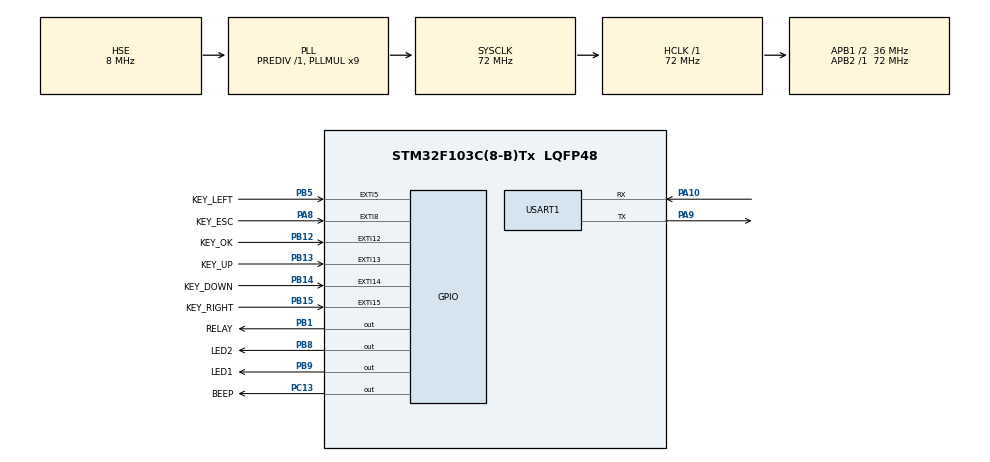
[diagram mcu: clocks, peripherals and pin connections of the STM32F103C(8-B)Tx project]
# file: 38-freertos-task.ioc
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FREERTOS.Tasks01=defaultTask,0,128,StartDefaultTask,Default,NULL,Dynamic,NULL,NULL;LED1,0,128,TaskLED1,Default,NULL,Dynamic,NULL,NULL;LED2,0,128,TaskLED2,Default,NULL,Dynamic,NULL,NULL
Mcu.Family=STM32F1
Mcu.Name=STM32F103C(8-B)Tx
Mcu.Package=LQFP48
NVIC.EXTI15_10_IRQn=true\:5\:0\:true\:false\:true\:true\:true\:true\:true
NVIC.EXTI9_5_IRQn=true\:5\:0\:true\:false\:true\:true\:true\:true\:true
NVIC.PriorityGroup=NVIC_PRIORITYGROUP_4
NVIC.TIM1_UP_IRQn=true\:15\:0\:false\:false\:true\:false\:false\:true\:true
NVIC.TimeBase=TIM1_UP_IRQn
NVIC.TimeBaseIP=TIM1
PA10.Mode=Asynchronous
PA10.Signal=USART1_RX
PA13.Mode=Serial_Wire
PA13.Signal=SYS_JTMS-SWDIO
PA14.Mode=Serial_Wire
PA14.Signal=SYS_JTCK-SWCLK
PA8.GPIO_Label=KEY_ESC
PA8.GPIO_ModeDefaultEXTI=GPIO_MODE_IT_FALLING
PA8.GPIO_PuPd=GPIO_PULLUP
PA8.Signal=GPXTI8
PA9.Mode=Asynchronous
PA9.Signal=USART1_TX
PB1.GPIO_Label=RELAY
PB1.Signal=GPIO_Output
PB12.GPIO_Label=KEY_OK
PB12.GPIO_ModeDefaultEXTI=GPIO_MODE_IT_FALLING
PB12.GPIO_PuPd=GPIO_PULLUP
PB12.Signal=GPXTI12
PB13.GPIO_Label=KEY_UP
PB13.GPIO_ModeDefaultEXTI=GPIO_MODE_IT_FALLING
PB13.GPIO_PuPd=GPIO_PULLUP
PB13.Signal=GPXTI13
PB14.GPIO_Label=KEY_DOWN
PB14.GPIO_ModeDefaultEXTI=GPIO_MODE_IT_FALLING
PB14.GPIO_PuPd=GPIO_PULLUP
PB14.Signal=GPXTI14
PB15.GPIO_Label=KEY_RIGHT
PB15.GPIO_ModeDefaultEXTI=GPIO_MODE_IT_FALLING
PB15.GPIO_PuPd=GPIO_PULLUP
PB15.Signal=GPXTI15
PB5.GPIO_Label=KEY_LEFT
PB5.GPIO_ModeDefaultEXTI=GPIO_MODE_IT_FALLING
PB5.GPIO_PuPd=GPIO_PULLUP
PB5.Signal=GPXTI5
PB8.GPIO_Label=LED2
PB8.PinState=GPIO_PIN_SET
PB8.Signal=GPIO_Output
PB9.GPIO_Label=LED1
PB9.PinState=GPIO_PIN_SET
PB9.Signal=GPIO_Output
PC13-TAMPER-RTC.GPIO_Label=BEEP
PC13-TAMPER-RTC.Signal=GPIO_Output
PD0-OSC_IN.Mode=HSE-External-Oscillator
PD0-OSC_IN.Signal=RCC_OSC_IN
PD1-OSC_OUT.Mode=HSE-External-Oscillator
PD1-OSC_OUT.Signal=RCC_OSC_OUT
ProjectManager.HeapSize=0x200
ProjectManager.StackSize=0x400
ProjectManager.TargetToolchain=MDK-ARM V5.32
RCC.AHBFreq_Value=72000000
RCC.APB1CLKDivider=RCC_HCLK_DIV2
RCC.APB1Freq_Value=36000000
RCC.APB1TimFreq_Value=72000000
RCC.APB2Freq_Value=72000000
RCC.APB2TimFreq_Value=72000000
RCC.HCLKFreq_Value=72000000
RCC.PLLMUL=RCC_PLL_MUL9
RCC.PLLSourceVirtual=RCC_PLLSOURCE_HSE
RCC.SYSCLKFreq_VALUE=72000000
RCC.SYSCLKSource=RCC_SYSCLKSOURCE_PLLCLK
RCC.USBFreq_Value=72000000
USART1.VirtualMode=VM_ASYNC
VP_FREERTOS_VS_CMSIS_V1.Mode=CMSIS_V1
VP_SYS_VS_tim1.Mode=TIM1
board=custom

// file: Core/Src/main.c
/* USER CODE BEGIN Header */
/**
  ******************************************************************************
  * @file           : main.c
  * @brief          : Main program body
  ******************************************************************************
  * @attention
  *
  * Copyright (c) 2025 STMicroelectronics.
  * All rights reserved.
  *
  * This software is licensed under terms that can be found in the LICENSE file
  * in the root directory of this software component.
  * If no LICENSE file comes with this software, it is provided AS-IS.
  *
  ******************************************************************************
  */
/* USER CODE END Header */
#include "main.h"
#include "cmsis_os.h"
#include "usart.h"
#include "gpio.h"

/* USER CODE BEGIN Includes */
#include <stdio.h>
/* USER CODE END Includes */

void SystemClock_Config(void);
void MX_FREERTOS_Init(void);

int main(void)
{

  /* MCU Configuration--------------------------------------------------------*/

  /* Reset of all peripherals, Initializes the Flash interface and the Systick. */
  HAL_Init();

  /* Configure the system clock */
  SystemClock_Config();

  /* Initialize all configured peripherals */
  MX_GPIO_Init();
  MX_USART1_UART_Init();
  /* USER CODE BEGIN 2 */
	printf("Uart1 init is ok\n");
  /* USER CODE END 2 */

  /* Call init function for freertos objects (in cmsis_os2.c) */
  MX_FREERTOS_Init();

  /* Start scheduler */
  osKernelStart();

  /* We should never get here as control is now taken by the scheduler */

  /* Infinite loop */
  while (1)
  {

  }
}

void SystemClock_Config(void)
{
  RCC_OscInitTypeDef RCC_OscInitStruct = {0};
  RCC_ClkInitTypeDef RCC_ClkInitStruct = {0};

  /** Initializes the RCC Oscillators according to the specified parameters
  * in the RCC_OscInitTypeDef structure.
  */
  RCC_OscInitStruct.OscillatorType = RCC_OSCILLATORTYPE_HSE;
  RCC_OscInitStruct.HSEState = RCC_HSE_ON;
  RCC_OscInitStruct.HSEPredivValue = RCC_HSE_PREDIV_DIV1;
  RCC_OscInitStruct.HSIState = RCC_HSI_ON;
  RCC_OscInitStruct.PLL.PLLState = RCC_PLL_ON;
  RCC_OscInitStruct.PLL.PLLSource = RCC_PLLSOURCE_HSE;
  RCC_OscInitStruct.PLL.PLLMUL = RCC_PLL_MUL9;
  if (HAL_RCC_OscConfig(&RCC_OscInitStruct) != HAL_OK)
  {
    Error_Handler();
  }

  /** Initializes the CPU, AHB and APB buses clocks
  */
  RCC_ClkInitStruct.ClockType = RCC_CLOCKTYPE_HCLK|RCC_CLOCKTYPE_SYSCLK
                              |RCC_CLOCKTYPE_PCLK1|RCC_CLOCKTYPE_PCLK2;
  RCC_ClkInitStruct.SYSCLKSource = RCC_SYSCLKSOURCE_PLLCLK;
  RCC_ClkInitStruct.AHBCLKDivider = RCC_SYSCLK_DIV1;
  RCC_ClkInitStruct.APB1CLKDivider = RCC_HCLK_DIV2;
  RCC_ClkInitStruct.APB2CLKDivider = RCC_HCLK_DIV1;

  if (HAL_RCC_ClockConfig(&RCC_ClkInitStruct, FLASH_LATENCY_2) != HAL_OK)
  {
    Error_Handler();
  }
}

void HAL_TIM_PeriodElapsedCallback(TIM_HandleTypeDef *htim)
{
  if (htim->Instance == TIM1)
  {
    HAL_IncTick();
  }
}

void Error_Handler(void)
{
  __disable_irq();
  while (1)
  {
  }
}

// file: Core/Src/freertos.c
/* USER CODE BEGIN Header */
/**
  ******************************************************************************
  * File Name          : freertos.c
  * Description        : Code for freertos applications
  ******************************************************************************
  * @attention
  *
  * Copyright (c) 2025 STMicroelectronics.
  * All rights reserved.
  *
  * This software is licensed under terms that can be found in the LICENSE file
  * in the root directory of this software component.
  * If no LICENSE file comes with this software, it is provided AS-IS.
  *
  ******************************************************************************
  */
/* USER CODE END Header */

#include "FreeRTOS.h"
#include "task.h"
#include "main.h"
#include "cmsis_os.h"

/* USER CODE BEGIN Includes */
#include "gpio.h"
#include <stdio.h>
/* USER CODE END Includes */

osThreadId defaultTaskHandle;
osThreadId LED1Handle;
osThreadId LED2Handle;

void StartDefaultTask(void const * argument);
void TaskLED1(void const * argument);
void TaskLED2(void const * argument);

void MX_FREERTOS_Init(void); /* (MISRA C 2004 rule 8.1) */

/* GetIdleTaskMemory prototype (linked to static allocation support) */
void vApplicationGetIdleTaskMemory( StaticTask_t **ppxIdleTaskTCBBuffer, StackType_t **ppxIdleTaskStackBuffer, uint32_t *pulIdleTaskStackSize );

/* USER CODE BEGIN GET_IDLE_TASK_MEMORY */
static StaticTask_t xIdleTaskTCBBuffer;
static StackType_t xIdleStack[configMINIMAL_STACK_SIZE];

void vApplicationGetIdleTaskMemory( StaticTask_t **ppxIdleTaskTCBBuffer, StackType_t **ppxIdleTaskStackBuffer, uint32_t *pulIdleTaskStackSize )
{
  *ppxIdleTaskTCBBuffer = &xIdleTaskTCBBuffer;
  *ppxIdleTaskStackBuffer = &xIdleStack[0];
  *pulIdleTaskStackSize = configMINIMAL_STACK_SIZE;
  /* place for user code */
}
/* USER CODE END GET_IDLE_TASK_MEMORY */

void MX_FREERTOS_Init(void) {

  /* Create the thread(s) */
  /* definition and creation of defaultTask */
  osThreadDef(defaultTask, StartDefaultTask, osPriorityNormal, 0, 128);
  defaultTaskHandle = osThreadCreate(osThread(defaultTask), NULL);

  /* definition and creation of LED1 */
  osThreadDef(LED1, TaskLED1, osPriorityNormal, 0, 128);
  LED1Handle = osThreadCreate(osThread(LED1), NULL);

  /* definition and creation of LED2 */
  osThreadDef(LED2, TaskLED2, osPriorityNormal, 0, 128);
  LED2Handle = osThreadCreate(osThread(LED2), NULL);

}

void StartDefaultTask(void const * argument)
{
  /* USER CODE BEGIN StartDefaultTask */
  /* Infinite loop */
  for(;;)
  {
				if(Key_Value == KEY_UP)
				{
						Key_Value = 0 ;
						printf("LED1 Suspend\n");
						osThreadSuspend(LED1Handle);
				}
				else if(Key_Value == KEY_DOWN)
				{
						Key_Value = 0 ;
						printf("LED1 Running\n");
						osThreadResume(LED1Handle);
				}
				else	if(Key_Value == KEY_LEFT)
				{
						Key_Value = 0 ;
						printf("LED2 Suspend\n");
						osThreadSuspend(LED2Handle);
				}
				else if(Key_Value == KEY_RIGHT)
				{
						Key_Value = 0 ;
						printf("LED2 Running\n");
						osThreadResume(LED2Handle);
				}
				osDelay(100);
  }
  /* USER CODE END StartDefaultTask */
}

void TaskLED1(void const * argument)
{
  /* USER CODE BEGIN TaskLED1 */
	printf("LED1 Running\n");
  /* Infinite loop */
  for(;;)
  {
		HAL_GPIO_TogglePin(LED1_GPIO_Port,LED1_Pin);
    osDelay(200);
  }
  /* USER CODE END TaskLED1 */
}

void TaskLED2(void const * argument)
{
  /* USER CODE BEGIN TaskLED2 */
	printf("LED2 Running\n");
  /* Infinite loop */
  for(;;)
  {
		HAL_GPIO_TogglePin(LED2_GPIO_Port,LED2_Pin);
    osDelay(1000);
  }
  /* USER CODE END TaskLED2 */
}
